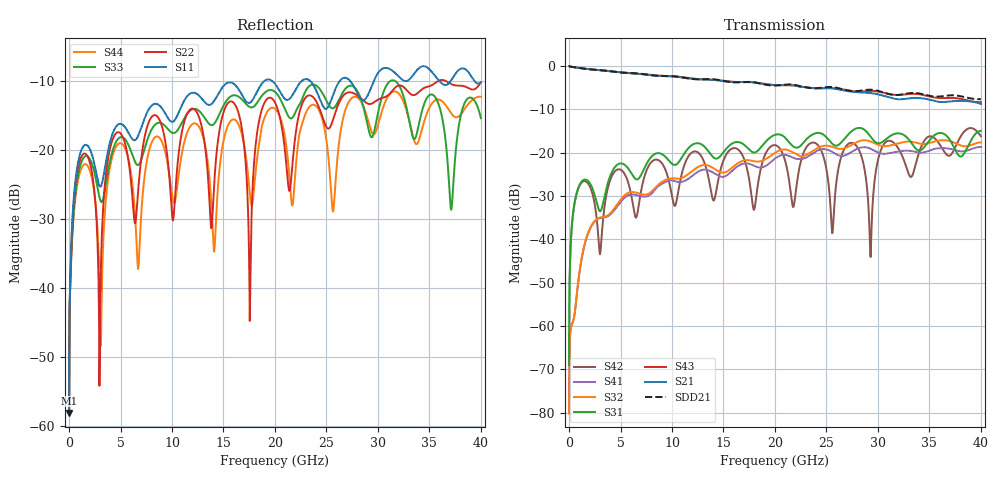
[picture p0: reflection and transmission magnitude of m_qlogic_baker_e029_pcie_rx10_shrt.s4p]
! freq	real(S11)	imag(S11)	real(S12)	imag(S12)	real(S13)	imag(S13)
!  real(S14)	imag(S14)
!  real(S21)	imag(S21)	real(S22)	imag(S22)	real(S23)	imag(S23)
!  real(S24)	imag(S24)
!  real(S31)	imag(S31)	real(S32)	imag(S32)	real(S33)	imag(S33)
!  real(S34)	imag(S34)
!  real(S41)	imag(S41)	real(S42)	imag(S42)	real(S43)	imag(S43)
!  real(S44)	imag(S44)
!port1: p1  port2: p2  port3: p3  port4: p4
#  MHz  S  RI  R 50
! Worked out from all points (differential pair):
!   8000 points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, 5 MHz to 40 GHz, reference 50 ohm
!   strongest paths, dB at 5 MHz, 10.01 GHz, 20 GHz, 30 GHz, 40 GHz:
!     S21: 0.0, -2.4, -4.4, -6.5, -8.7
!     S43: 0.0, -2.3, -4.4, -5.9, -8.3
!     S31: -69.0, -22.6, -15.8, -17.8, -14.9
!     S32: -80.1, -25.9, -20.0, -18.1, -17.6
!     S41: -80.1, -26.4, -21.3, -19.9, -18.7
!     S42: -69.0, -30.1, -18.2, -21.7, -16.2
!   taken as a pair (ports 1,3 in; 2,4 out), SDD21 dB: 0.0, -2.3, -4.5, -5.7, -7.6
!   lowest |S11| = -58.1 dB at 5 MHz (marker M1), VSWR 1.00, Z = 50.1 - j0.00087 ohm
!   |S11| at or under -10 dB: start of sweep to 19.04 GHz; 19.68 GHz to 22.65 GHz (2.974 GHz wide, 14.1 % of centre); 23.36 GHz to 26.33 GHz (2.964 GHz wide, 11.9 % of centre)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
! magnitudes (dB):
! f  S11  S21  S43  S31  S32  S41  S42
! 5 MHz  -58.1  0.0  0.0  -69.0  -80.1  -80.1  -69.0
! 950 MHz  -21.3  -0.4  -0.4  -27.8  -48.5  -48.8  -27.9
! 2.96 GHz  -25.3  -0.9  -0.9  -33.4  -35.0  -35.1  -42.8
! 5.655 GHz  -17.3  -1.6  -1.6  -23.3  -29.4  -29.9  -26.3
! 27.5 GHz  -10.5  -5.9  -5.8  -14.9  -18.1  -19.7  -17.7
! 29.27 GHz  -11.2  -6.2  -5.7  -16.2  -17.4  -19.0  -43.9
! 40 GHz  -10.3  -8.7  -8.3  -14.9  -17.6  -18.7  -16.2
